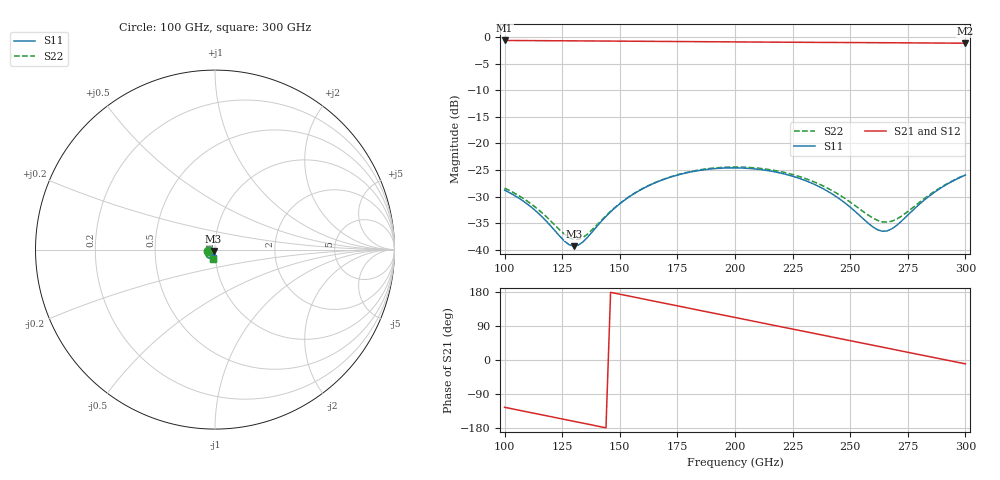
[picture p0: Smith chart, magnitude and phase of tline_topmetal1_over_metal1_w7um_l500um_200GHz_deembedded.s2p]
! Created with skrf 2.2.0 (http://scikit-rf.org).
# GHz S DB R 50.0
! Port[1] = P1
! Port[2] = P2
!freq dBS11 angS11 dBS21 angS21 dBS12 angS12 dBS22 angS22
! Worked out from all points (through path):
!   101 points, 100 GHz to 300 GHz, reference 50 ohm
!   highest |S21| = -0.64 dB at 100 GHz (marker M1); lowest = -1.2 dB at 300 GHz (marker M2)
!   group delay of S21, straight-line fit = 3.41 ps
!   lowest |S11| = -39.3 dB at 130 GHz (marker M3), VSWR 1.02, Z = 49.2 - j0.713 ohm
!   |S11| at or under -10 dB: start of sweep to end of sweep
!   |S22| runs from -38.0 to -24.4 dB; largest |S21 - S12| = 1.5e-14
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100  -28.77 -170.3  -0.64 -124.8  -0.64 -124.8  -28.40 -168.0
112  -32.11 -177.6  -0.67 -139.6  -0.67 -139.6  -31.52 -174.7
126  -38.35 -157.9  -0.70 -156.8  -0.70 -156.8  -37.07 -157.6
130  -39.30 -138.0  -0.71 -161.7  -0.71 -161.7  -38.04 -141.2
134  -38.51 -117.5  -0.72 -166.7  -0.72 -166.7  -37.67 -122.8
144  -33.71 -95.8  -0.75 -179.0  -0.75 -179.0  -33.58 -99.2
150  -31.33 -95.0  -0.76 173.6  -0.76 173.6  -31.29 -97.0
158  -28.97 -98.9  -0.79 163.8  -0.79 163.8  -28.93 -99.7
168  -26.93 -107.0  -0.82 151.5  -0.82 151.5  -26.88 -106.9
184  -25.10 -122.6  -0.86 131.8  -0.86 131.8  -25.01 -121.5
200  -24.59 -138.9  -0.91 112.2  -0.91 112.2  -24.43 -137.1
208  -24.76 -146.9  -0.93 102.4  -0.93 102.4  -24.56 -144.6
216  -25.23 -154.6  -0.95 92.6  -0.95 92.6  -24.98 -151.9
224  -26.03 -161.7  -0.97 82.8  -0.97 82.8  -25.72 -158.5
234  -27.60 -169.2  -0.99 70.6  -0.99 70.6  -27.16 -165.2
246  -30.61 -173.1  -1.02 55.9  -1.02 55.9  -29.85 -168.3
262  -36.24 -145.7  -1.06 36.3  -1.06 36.3  -34.48 -145.5
264  -36.50 -137.3  -1.06 33.9  -1.06 33.9  -34.73 -139.0
268  -36.07 -120.2  -1.07 29.0  -1.07 29.0  -34.61 -125.3
272  -34.70 -107.2  -1.08 24.1  -1.08 24.1  -33.73 -113.5
286  -29.35 -94.6  -1.12 6.9  -1.12 6.9  -29.18 -98.0
300  -25.94 -101.4  -1.15 -10.2  -1.15 -10.2  -25.88 -102.3
